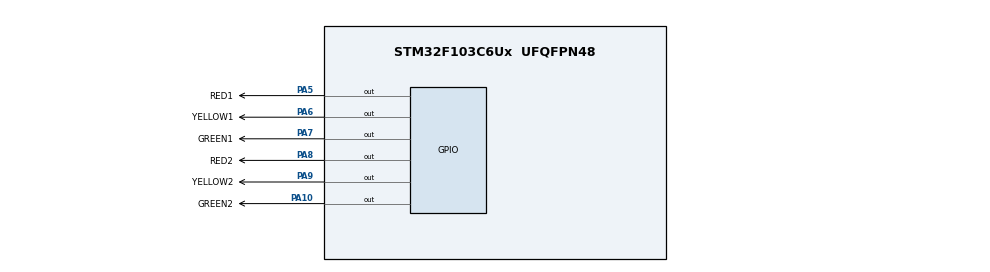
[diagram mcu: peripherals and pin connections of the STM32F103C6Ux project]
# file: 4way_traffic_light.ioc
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Mcu.Family=STM32F1
Mcu.Name=STM32F103C6Ux
Mcu.Package=UFQFPN48
NVIC.PriorityGroup=NVIC_PRIORITYGROUP_4
PA10.GPIO_Label=GREEN2
PA10.Signal=GPIO_Output
PA5.GPIO_Label=RED1
PA5.Signal=GPIO_Output
PA6.GPIO_Label=YELLOW1
PA6.Signal=GPIO_Output
PA7.GPIO_Label=GREEN1
PA7.Signal=GPIO_Output
PA8.GPIO_Label=RED2
PA8.Signal=GPIO_Output
PA9.GPIO_Label=YELLOW2
PA9.Signal=GPIO_Output
ProjectManager.HeapSize=0x200
ProjectManager.StackSize=0x400
ProjectManager.TargetToolchain=STM32CubeIDE
RCC.APB1Freq_Value=8000000
RCC.APB2Freq_Value=8000000
VP_SYS_VS_ND.Mode=No_Debug
board=custom

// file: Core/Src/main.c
/* USER CODE BEGIN Header */
/**
  ******************************************************************************
  * @file           : main.c
  * @brief          : Main program body
  ******************************************************************************
  * @attention
  *
  * <h2><center>&copy; Copyright (c) 2025 STMicroelectronics.
  * All rights reserved.</center></h2>
  *
  * This software component is licensed by ST under BSD 3-Clause license,
  * the "License"; You may not use this file except in compliance with the
  * License. You may obtain a copy of the License at:
  *                        opensource.org/licenses/BSD-3-Clause
  *
  ******************************************************************************
  */
/* USER CODE END Header */
#include "main.h"

void SystemClock_Config(void);
static void MX_GPIO_Init(void);

int main(void)
{
  /* USER CODE BEGIN 1 */
	// Define traffic light states
	enum LightState { RED1GREEN2, RED1YELLOW2, GREEN1RED2, YELLOW1RED2 };
	enum LightState CurrentState = RED1GREEN2;

	// Countdown timers for each direction
	int count1 = 5, count2 = 3;
  /* USER CODE END 1 */

  /* MCU Configuration--------------------------------------------------------*/

  /* Reset of all peripherals, Initializes the Flash interface and the Systick. */
  HAL_Init();

  /* Configure the system clock */
  SystemClock_Config();

  /* Initialize all configured peripherals */
  MX_GPIO_Init();

  /* Infinite loop */
  /* USER CODE BEGIN WHILE */

  //initiate the counter and states

  // Turn off all LEDs first
	  HAL_GPIO_WritePin(RED1_GPIO_Port, RED1_Pin, SET);
	  HAL_GPIO_WritePin(YELLOW1_GPIO_Port, YELLOW1_Pin, SET);
	  HAL_GPIO_WritePin(GREEN1_GPIO_Port, GREEN1_Pin, SET);
	  HAL_GPIO_WritePin(RED2_GPIO_Port, RED2_Pin, SET);
	  HAL_GPIO_WritePin(YELLOW2_GPIO_Port, YELLOW2_Pin, SET);
	  HAL_GPIO_WritePin(GREEN2_GPIO_Port, GREEN2_Pin, SET);

  while (1)
  {
	  // Turn on LEDs based on the current state
		  switch (CurrentState) {

		  case RED1GREEN2:
			  HAL_GPIO_WritePin(RED1_GPIO_Port, RED1_Pin, RESET);    // Direction 1: Red light
			  HAL_GPIO_WritePin(YELLOW1_GPIO_Port, YELLOW1_Pin, SET);
			  HAL_GPIO_WritePin(GREEN1_GPIO_Port, GREEN1_Pin, SET);
			  HAL_GPIO_WritePin(RED2_GPIO_Port, RED2_Pin, SET);
			  HAL_GPIO_WritePin(YELLOW2_GPIO_Port, YELLOW2_Pin, SET);
			  HAL_GPIO_WritePin(GREEN2_GPIO_Port, GREEN2_Pin, RESET); // Direction 2: Green light
			  count1--;
			  count2--;
			  if (count1 <= 0 || count2 <= 0) {
				  count2 = 2; // Yellow light duration for direction 2
				  CurrentState = RED1YELLOW2;
			  }
			  break;

		  case RED1YELLOW2:
			  HAL_GPIO_WritePin(RED1_GPIO_Port, RED1_Pin, RESET);   // Direction 1: Red light
			  HAL_GPIO_WritePin(YELLOW1_GPIO_Port, YELLOW1_Pin, SET);
			  HAL_GPIO_WritePin(GREEN1_GPIO_Port, GREEN1_Pin, SET);
			  HAL_GPIO_WritePin(RED2_GPIO_Port, RED2_Pin, SET);
			  HAL_GPIO_WritePin(YELLOW2_GPIO_Port, YELLOW2_Pin, RESET); // Direction 2: Yellow light
			  HAL_GPIO_WritePin(GREEN2_GPIO_Port, GREEN2_Pin, SET);
			  count1--;
			  count2--;
			  if (count1 <= 0 || count2 <= 0) {
				  count1 = 3; // Green light duration for lane 1
				  count2 = 5;
				  CurrentState = GREEN1RED2;
			  }
			  break;

		  case GREEN1RED2:
			  HAL_GPIO_WritePin(RED1_GPIO_Port, RED1_Pin, SET);
			  HAL_GPIO_WritePin(YELLOW1_GPIO_Port, YELLOW1_Pin, SET);
			  HAL_GPIO_WritePin(GREEN1_GPIO_Port, GREEN1_Pin, RESET); // Direction 1: Green light
			  HAL_GPIO_WritePin(RED2_GPIO_Port, RED2_Pin, RESET);   // Direction 2: Red light
			  HAL_GPIO_WritePin(YELLOW2_GPIO_Port, YELLOW2_Pin, SET);
			  HAL_GPIO_WritePin(GREEN2_GPIO_Port, GREEN2_Pin, SET);
			  count1--;
			  count2--;
			  if (count1 <= 0 || count2 <= 0) {
				  count1 = 2; // Yellow light duration for direction 1
				  CurrentState = YELLOW1RED2;
			  }
			  break;

		  case YELLOW1RED2:
			  HAL_GPIO_WritePin(RED1_GPIO_Port, RED1_Pin, SET);
			  HAL_GPIO_WritePin(YELLOW1_GPIO_Port, YELLOW1_Pin, RESET);// Direction 1: Yellow light
			  HAL_GPIO_WritePin(GREEN1_GPIO_Port, GREEN1_Pin, SET);
			  HAL_GPIO_WritePin(RED2_GPIO_Port, RED2_Pin, RESET);   // Direction 2: Red light
			  HAL_GPIO_WritePin(YELLOW2_GPIO_Port, YELLOW2_Pin, SET);
			  HAL_GPIO_WritePin(GREEN2_GPIO_Port, GREEN2_Pin, SET);
			  count1--;
			  count2--;
			  if (count1 <= 0 || count2 <= 0) {
				  count1 = 5; // Red light duration for direction 1
				  count2 = 3;
				  CurrentState = RED1GREEN2;
			  }
			  break;
	  }
		  // 1-second delay
		  HAL_Delay(1000);
    /* USER CODE END WHILE */

  }
}

void SystemClock_Config(void)
{
  RCC_OscInitTypeDef RCC_OscInitStruct = {0};
  RCC_ClkInitTypeDef RCC_ClkInitStruct = {0};

  /** Initializes the RCC Oscillators according to the specified parameters
  * in the RCC_OscInitTypeDef structure.
  */
  RCC_OscInitStruct.OscillatorType = RCC_OSCILLATORTYPE_HSI;
  RCC_OscInitStruct.HSIState = RCC_HSI_ON;
  RCC_OscInitStruct.HSICalibrationValue = RCC_HSICALIBRATION_DEFAULT;
  RCC_OscInitStruct.PLL.PLLState = RCC_PLL_NONE;
  if (HAL_RCC_OscConfig(&RCC_OscInitStruct) != HAL_OK)
  {
    Error_Handler();
  }
  /** Initializes the CPU, AHB and APB buses clocks
  */
  RCC_ClkInitStruct.ClockType = RCC_CLOCKTYPE_HCLK|RCC_CLOCKTYPE_SYSCLK
                              |RCC_CLOCKTYPE_PCLK1|RCC_CLOCKTYPE_PCLK2;
  RCC_ClkInitStruct.SYSCLKSource = RCC_SYSCLKSOURCE_HSI;
  RCC_ClkInitStruct.AHBCLKDivider = RCC_SYSCLK_DIV1;
  RCC_ClkInitStruct.APB1CLKDivider = RCC_HCLK_DIV1;
  RCC_ClkInitStruct.APB2CLKDivider = RCC_HCLK_DIV1;

  if (HAL_RCC_ClockConfig(&RCC_ClkInitStruct, FLASH_LATENCY_0) != HAL_OK)
  {
    Error_Handler();
  }
}

static void MX_GPIO_Init(void)
{
  GPIO_InitTypeDef GPIO_InitStruct = {0};

  /* GPIO Ports Clock Enable */
  __HAL_RCC_GPIOA_CLK_ENABLE();

  /*Configure GPIO pin Output Level */
  HAL_GPIO_WritePin(GPIOA, RED1_Pin|YELLOW1_Pin|GREEN1_Pin|RED2_Pin
                          |YELLOW2_Pin|GREEN2_Pin, GPIO_PIN_RESET);

  /*Configure GPIO pins : RED1_Pin YELLOW1_Pin GREEN1_Pin RED2_Pin
                           YELLOW2_Pin GREEN2_Pin */
  GPIO_InitStruct.Pin = RED1_Pin|YELLOW1_Pin|GREEN1_Pin|RED2_Pin
                          |YELLOW2_Pin|GREEN2_Pin;
  GPIO_InitStruct.Mode = GPIO_MODE_OUTPUT_PP;
  GPIO_InitStruct.Pull = GPIO_NOPULL;
  GPIO_InitStruct.Speed = GPIO_SPEED_FREQ_LOW;
  HAL_GPIO_Init(GPIOA, &GPIO_InitStruct);

}

void Error_Handler(void)
{
  __disable_irq();
  while (1)
  {
  }
}

/************************ (C) COPYRIGHT STMicroelectronics *****END OF FILE****/
